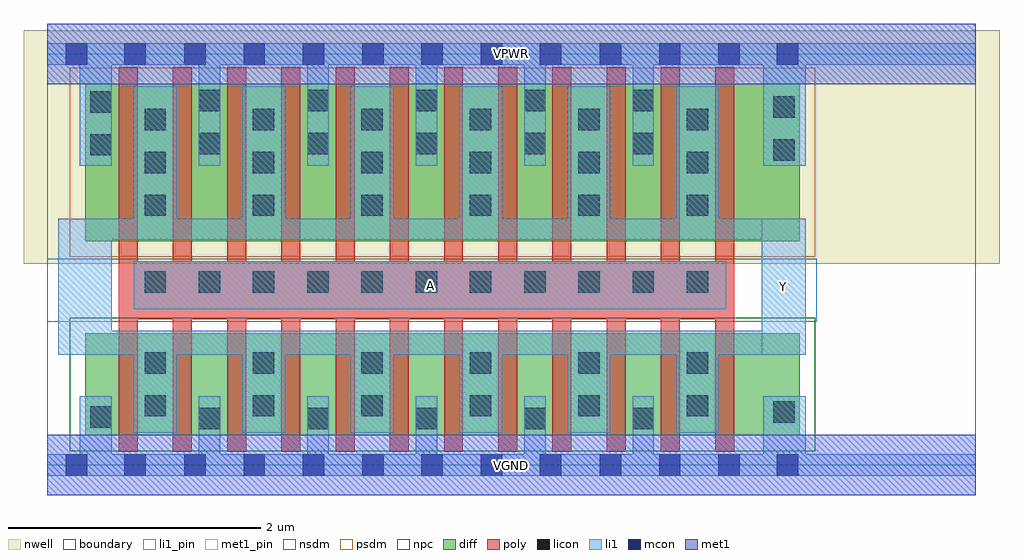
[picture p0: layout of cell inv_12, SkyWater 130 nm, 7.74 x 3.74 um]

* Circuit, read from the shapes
.subckt inv_12 A VGND VPWR Y
XM1 Y A VGND VSUBS sky130_fd_pr__nfet_01v8 w=0.81 l=0.15 m=12
XM2 Y A VPWR n1 sky130_fd_pr__pfet_01v8 w=1.25 l=0.15 m=12
.ends

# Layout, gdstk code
import gdstk
lib = gdstk.Library(unit=1e-6, precision=1e-09)
def R(c, l, rs):  # rectangles x0, y0, x1, y1
    for r in rs: c.add(gdstk.rectangle(r[:2], r[2:], *l))
def A(c, l, x, y, w, h, nx, ny, dx, dy):  # array of equal rectangles
    R(c, l, [(x+i*dx, y+j*dy, x+i*dx+w, y+j*dy+h) for i in range(nx) for j in range(ny)])
nwell = (64, 20)
diff = (65, 20)
poly = (66, 20)
licon = (66, 44)
li1_pin = (67, 16)
li1 = (67, 20)
mcon = (67, 44)
met1_pin = (68, 16)
met1 = (68, 20)
nsdm = (93, 44)
psdm = (94, 20)
npc = (95, 20)
boundary = (235, 4)

inv_12 = lib.new_cell('inv_12')
R(inv_12, nwell, [(-0.19,1.595,7.55,3.45), (0,1.595,7.36,3.45)])
R(inv_12, diff, [(0.3,0.235,5.965,1.045), (0.3,1.775,5.965,3.025)])
A(inv_12, poly, 0.565, 0.105, 0.15, 3.05, 12, 1, 0.43, 0)
R(inv_12, poly, [(0.565,1.155,5.445,1.615)])
A(inv_12, licon, 1.2, 0.285, 0.17, 0.17, 5, 2, 0.86, 2.18)
A(inv_12, licon, 0.77, 0.385, 0.17, 0.17, 6, 2, 0.86, 0.34)
A(inv_12, licon, 0.77, 1.365, 0.17, 0.17, 11, 1, 0.43, 0)
A(inv_12, licon, 0.77, 1.975, 0.17, 0.17, 6, 3, 0.86, 0.34)
A(inv_12, licon, 1.2, 2.805, 0.17, 0.17, 5, 1, 0.86, 0)
R(inv_12, licon, [(0.34,0.295,0.51,0.465), (5.755,0.335,5.925,0.505), (5.755,2.415,5.925,2.585), (0.34,2.455,0.51,2.625), (5.755,2.755,5.925,2.925), (0.34,2.795,0.51,2.965)])
R(inv_12, li1_pin, [(5.665,0.875,6.015,1.955), (0.685,1.235,5.385,1.615)])
A(inv_12, li1, 1.2, -0.085, 0.17, 0.63, 5, 1, 0.86, 0)
A(inv_12, li1, 0.685, 0.255, 0.34, 0.81, 6, 1, 0.86, 0)
A(inv_12, li1, 0.685, 1.785, 0.34, 1.22, 6, 1, 0.86, 0)
A(inv_12, li1, 1.2, 2.375, 0.17, 0.97, 5, 1, 0.86, 0)
R(inv_12, li1, [(0,-0.085,7.36,0.085), (0.255,-0.085,0.51,0.545), (5.675,-0.085,6.015,0.545), (0.085,0.875,6.015,1.065), (0.085,0.875,0.51,1.955), (5.665,0.875,6.015,1.955), (0.685,1.235,5.385,1.615), (0.085,1.785,6.015,1.955), (0.255,2.375,0.51,3.345), (5.675,2.375,6.015,3.345), (0,3.175,7.36,3.345)])
A(inv_12, mcon, 1.085, -0.085, 0.17, 0.17, 7, 2, 0.47, 3.26)
A(inv_12, mcon, 4.38, -0.085, 0.17, 0.17, 3, 2, 0.47, 3.26)
R(inv_12, mcon, [(0.145,-0.085,0.315,0.085), (0.61,-0.085,0.78,0.085), (5.785,-0.085,5.955,0.085), (0.145,3.175,0.315,3.345), (0.61,3.175,0.78,3.345), (5.785,3.175,5.955,3.345)])
R(inv_12, met1_pin, [(0,-0.24,7.36,0.24), (0,3.02,7.36,3.5)])
R(inv_12, met1, [(0,-0.24,7.36,0.24), (0,3.02,7.36,3.5)])
R(inv_12, nsdm, [(0.175,0.11,6.09,1.17)])
R(inv_12, psdm, [(0.175,1.65,6.09,3.15)])
R(inv_12, npc, [(0,1.135,6.1,1.635)])
R(inv_12, boundary, [(0,0,7.36,3.26)])
inv_12.add(gdstk.Label('A', (3.035,1.425), layer=67, texttype=5))
inv_12.add(gdstk.Label('Y', (5.84,1.415), layer=67, texttype=5))
inv_12.add(gdstk.Label('VPWR', (3.68,3.26), layer=68, texttype=5))
inv_12.add(gdstk.Label('VGND', (3.68,0), layer=68, texttype=5))
inv_12.add(gdstk.Label('A', (3.035,1.425), layer=67, texttype=16))
inv_12.add(gdstk.Label('Y', (5.84,1.415), layer=67, texttype=16))
inv_12.add(gdstk.Label('VPWR', (3.68,3.26), layer=68, texttype=16))
inv_12.add(gdstk.Label('VGND', (3.68,0), layer=68, texttype=16))

lib.write_gds('inv_12.gds')
